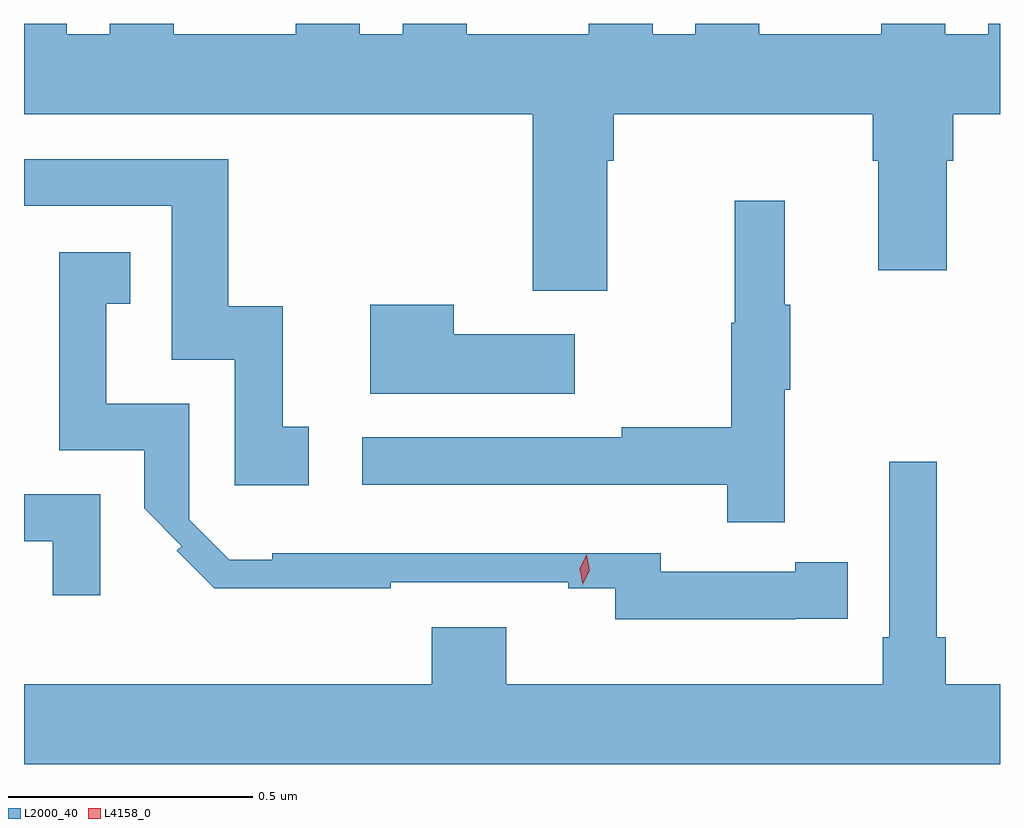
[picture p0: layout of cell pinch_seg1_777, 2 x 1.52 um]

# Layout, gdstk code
import gdstk
lib = gdstk.Library(unit=1e-6, precision=1e-09)
def P(c, l, *ps):  # polygons
    for p in ps: c.add(gdstk.Polygon(p, *l))
L2000_40 = (2000, 40)
L4158_0 = (4158, 0)

pinch_seg1_777 = lib.new_cell('pinch_seg1_777')
P(pinch_seg1_777, L2000_40, [(865.351,505.016),(865.364,505.016),(865.364,505.112),(865.895,505.112),(865.895,505.016),(865.907,505.016),(865.907,504.792),(866.047,504.792),(866.047,505.016),(866.06,505.016),(866.06,505.112),(866.156,505.112),(866.156,505.297),(866.132,505.297),(866.132,505.276),(866.044,505.276),(866.044,505.297),(865.913,505.297),(865.913,505.276),(865.663,505.276),(865.663,505.297),(865.532,505.297),(865.532,505.276),(865.444,505.276),(865.444,505.297),(865.313,505.297),(865.313,505.276),(865.063,505.276),(865.063,505.297),(864.932,505.297),(864.932,505.276),(864.844,505.276),(864.844,505.297),(864.713,505.297),(864.713,505.276),(864.463,505.276),(864.463,505.297),(864.332,505.297),(864.332,505.276),(864.244,505.276),(864.244,505.297),(864.156,505.297),(864.156,505.112),(865.199,505.112),(865.199,504.75),(865.351,504.75)],
  [(864.739,504.471),(864.686,504.471),(864.686,504.718),(864.575,504.718),(864.575,505.02),(864.156,505.02),(864.156,504.924),(864.459,504.924),(864.459,504.609),(864.588,504.609),(864.588,504.351),(864.739,504.351)],
  [(865.715,504.547),(865.726,504.547),(865.726,504.721),(865.715,504.721),(865.715,504.934),(865.612,504.934),(865.612,504.684),(865.605,504.684),(865.605,504.47),(865.381,504.47),(865.381,504.45),(864.849,504.45),(864.849,504.353),(865.597,504.353),(865.597,504.276),(865.715,504.276)],
  [(865.736,504.078),(865.844,504.078),(865.844,504.194),(865.736,504.194),(865.736,504.174),(865.461,504.174),(865.461,504.212),(864.665,504.212),(864.665,504.199),(864.577,504.199),(864.495,504.281),(864.495,504.519),(864.325,504.519),(864.325,504.723),(864.374,504.723),(864.374,504.829),(864.228,504.829),(864.228,504.423),(864.402,504.423),(864.402,504.304),(864.479,504.227),(864.469,504.217),(864.546,504.14),(864.908,504.14),(864.908,504.153),(865.271,504.153),(865.271,504.14),(865.368,504.14),(865.368,504.077),(865.736,504.077)],
  [(865.285,504.661),(865.037,504.661),(865.037,504.721),(864.866,504.721),(864.866,504.539),(865.285,504.539)],
  [(866.156,503.944),(866.045,503.944),(866.045,504.04),(866.026,504.04),(866.026,504.4),(865.929,504.4),(865.929,504.04),(865.916,504.04),(865.916,503.944),(865.144,503.944),(865.144,504.061),(864.992,504.061),(864.992,503.944),(864.156,503.944),(864.156,503.78),(866.156,503.78)],
  [(864.312,504.333),(864.156,504.333),(864.156,504.237),(864.215,504.237),(864.215,504.126),(864.312,504.126)])
P(pinch_seg1_777, L4158_0, [(865.301,504.148),(865.301,504.149),(865.295,504.18),(865.308,504.208),(865.308,504.209),(865.309,504.208),(865.315,504.177),(865.301,504.149)])

lib.write_gds('pinch_seg1_777.gds')
